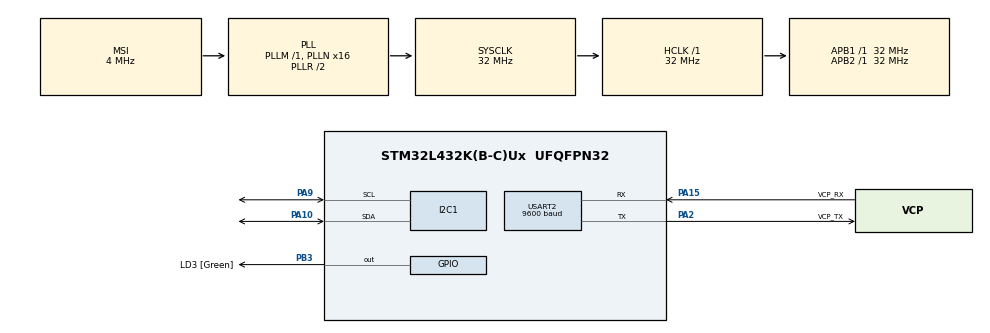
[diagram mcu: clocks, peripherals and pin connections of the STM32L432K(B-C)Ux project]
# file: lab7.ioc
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FREERTOS.BinarySemaphores01=myBinarySem01,Dynamic,NULL;myBinarySem02,Dynamic,NULL
FREERTOS.Queues01=RQ,4,uint8_t,0,Dynamic,NULL,NULL;SQ,4,uint8_t,0,Dynamic,NULL,NULL
FREERTOS.Tasks01=defaultTask,8,128,StartDefaultTask,Default,NULL,Dynamic,NULL,NULL;myTask04,8,128,StartTask04,Default,NULL,Dynamic,NULL,NULL
I2C1.Timing=0x00707CBB
Mcu.Family=STM32L4
Mcu.Name=STM32L432K(B-C)Ux
Mcu.Package=UFQFPN32
NVIC.PriorityGroup=NVIC_PRIORITYGROUP_4
NVIC.TIM1_UP_TIM16_IRQn=true\:15\:0\:false\:false\:true\:false\:false\:true\:true
NVIC.TimeBase=TIM1_UP_TIM16_IRQn
NVIC.TimeBaseIP=TIM1
NVIC.USART2_IRQn=true\:5\:0\:false\:false\:true\:true\:true\:true\:true
PA0.GPIO_Label=MCO [High speed clock in]
PA0.Mode=HSE-External-Clock-Source-for-LittleOrca
PA0.Signal=RCC_CK_IN
PA10.Mode=I2C
PA10.Signal=I2C1_SDA
PA13\ (JTMS-SWDIO).GPIO_Label=SWDIO
PA13\ (JTMS-SWDIO).Mode=Serial_Wire
PA13\ (JTMS-SWDIO).Signal=SYS_JTMS-SWDIO
PA14\ (JTCK-SWCLK).GPIO_Label=SWCLK
PA14\ (JTCK-SWCLK).Mode=Serial_Wire
PA14\ (JTCK-SWCLK).Signal=SYS_JTCK-SWCLK
PA15\ (JTDI).GPIO_Label=VCP_RX
PA15\ (JTDI).Mode=Asynchronous
PA15\ (JTDI).Signal=USART2_RX
PA2.GPIO_Label=VCP_TX
PA2.Mode=Asynchronous
PA2.Signal=USART2_TX
PA9.Mode=I2C
PA9.Signal=I2C1_SCL
PB3\ (JTDO-TRACESWO).GPIO_Label=LD3 [Green]
PB3\ (JTDO-TRACESWO).Signal=GPIO_Output
PC14-OSC32_IN\ (PC14).Mode=LSE-External-Oscillator
PC14-OSC32_IN\ (PC14).Signal=RCC_OSC32_IN
PC15-OSC32_OUT\ (PC15).Mode=LSE-External-Oscillator
PC15-OSC32_OUT\ (PC15).Signal=RCC_OSC32_OUT
ProjectManager.HeapSize=0x200
ProjectManager.StackSize=0x400
ProjectManager.TargetToolchain=MDK-ARM V5.32
RCC.AHBFreq_Value=32000000
RCC.APB1Freq_Value=32000000
RCC.APB1TimFreq_Value=32000000
RCC.APB2Freq_Value=32000000
RCC.APB2TimFreq_Value=32000000
RCC.CortexFreq_Value=32000000
RCC.HCLKFreq_Value=32000000
RCC.HSE_VALUE=8000000
RCC.HSI16_VALUE=16000000
RCC.HSI48_VALUE=48000000
RCC.HSI_VALUE=16000000
RCC.MSI_VALUE=4000000
RCC.PLLMUL=RCC_PLLMUL_4
RCC.PLLN=16
RCC.SYSCLKFreq_VALUE=32000000
RCC.SYSCLKSource=RCC_SYSCLKSOURCE_PLLCLK
RCC.VCOOutputFreq_Value=64000000
USART2.BaudRate=9600
USART2.VirtualMode-Asynchronous=VM_ASYNC
VP_FREERTOS_VS_CMSIS_V2.Mode=CMSIS_V2
VP_SYS_VS_tim1.Mode=TIM1
board=NUCLEO-L432KC

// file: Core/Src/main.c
/* USER CODE BEGIN Header */
/**
  ******************************************************************************
  * @file           : main.c
  * @brief          : Main program body
  ******************************************************************************
  * @attention
  *
  * Copyright (c) 2024 STMicroelectronics.
  * All rights reserved.
  *
  * This software is licensed under terms that can be found in the LICENSE file
  * in the root directory of this software component.
  * If no LICENSE file comes with this software, it is provided AS-IS.
  *
  ******************************************************************************
  */
/* USER CODE END Header */
#include "main.h"
#include "cmsis_os.h"

/* USER CODE BEGIN Includes */
#include "FreeRTOS.h"
#include "task.h"
#include "queue.h"
#include "semphr.h"
#include "stdio.h"
/* USER CODE END Includes */

I2C_HandleTypeDef hi2c1;

UART_HandleTypeDef huart2;

/* Definitions for defaultTask */
osThreadId_t defaultTaskHandle;
const osThreadAttr_t defaultTask_attributes = {
  .name = "defaultTask",
  .stack_size = 128 * 4,
  .priority = (osPriority_t) osPriorityLow,
};
/* Definitions for myTask04 */
osThreadId_t myTask04Handle;
const osThreadAttr_t myTask04_attributes = {
  .name = "myTask04",
  .stack_size = 128 * 4,
  .priority = (osPriority_t) osPriorityLow,
};
/* Definitions for RQ */
osMessageQueueId_t RQHandle;
const osMessageQueueAttr_t RQ_attributes = {
  .name = "RQ"
};
/* Definitions for SQ */
osMessageQueueId_t SQHandle;
const osMessageQueueAttr_t SQ_attributes = {
  .name = "SQ"
};
/* Definitions for myBinarySem01 */
osSemaphoreId_t myBinarySem01Handle;
const osSemaphoreAttr_t myBinarySem01_attributes = {
  .name = "myBinarySem01"
};
/* Definitions for myBinarySem02 */
osSemaphoreId_t myBinarySem02Handle;
const osSemaphoreAttr_t myBinarySem02_attributes = {
  .name = "myBinarySem02"
};
/* USER CODE BEGIN PV */
	char uartBuf [200] = {0};
		char uartBuf2 [200] = {0};

	uint8_t secbuffer[2], minbuffer[2], hourbuffer[2], alarmsecbuffer[2], alarmminbuffer[2], alarmhourbuffer[2], alarmdt[2], ctrl[2], status[2], tempMsb[2], tempLsb[2];
	uint8_t h1,h2,m1,m2,s1,s2;

/* USER CODE END PV */

void SystemClock_Config(void);
static void MX_GPIO_Init(void);
static void MX_USART2_UART_Init(void);
static void MX_I2C1_Init(void);
void StartDefaultTask(void *argument);
void StartTask04(void *argument);

int main(void)
{

  /* MCU Configuration--------------------------------------------------------*/

  /* Reset of all peripherals, Initializes the Flash interface and the Systick. */
  HAL_Init();

  /* Configure the system clock */
  SystemClock_Config();

  /* Initialize all configured peripherals */
  MX_GPIO_Init();
  MX_USART2_UART_Init();
  MX_I2C1_Init();
  /* USER CODE BEGIN 2 */
//	if (HAL_I2C_IsDeviceReady(&hi2c1, 0xD0, 10, HAL_MAX_DELAY) == HAL_OK)
//	{
//		for (int i = 1; i<=10;i++) // indicator of ready device
//		{
//			HAL_GPIO_TogglePin(GPIOB, GPIO_PIN_3);
//			HAL_Delay(250);
//		}
//	}

	tempMsb[0] = 0x11;
	tempLsb[0] = 0x12;
	ctrl[0] = 0x0E;
	ctrl[1] = 0x3C;
	// seconds
	HAL_I2C_Master_Transmit(&hi2c1, 0xD0, ctrl, 2, 10);

	secbuffer[0] = 0x00; //register address
	secbuffer[1] = 0x00; //data to put in register --> 00 sec
	HAL_I2C_Master_Transmit(&hi2c1, 0xD0, secbuffer, 2, 10);
	// minutes
	minbuffer[0] = 0x01; //register address
	minbuffer[1] = 0x46; //data to put in register --> 46 min
	HAL_I2C_Master_Transmit(&hi2c1, 0xD0, minbuffer, 2, 10);
	// hours
	hourbuffer[0] = 0x02; //register address
	hourbuffer[1] = 0x12; //data to put in register 00010010 --> 12 pm
	HAL_I2C_Master_Transmit(&hi2c1, 0xD0, hourbuffer, 2, 10);

  /* USER CODE END 2 */

  /* Init scheduler */
  osKernelInitialize();

  /* Create the semaphores(s) */
  /* creation of myBinarySem01 */
  myBinarySem01Handle = osSemaphoreNew(1, 1, &myBinarySem01_attributes);

  /* creation of myBinarySem02 */
  myBinarySem02Handle = osSemaphoreNew(1, 1, &myBinarySem02_attributes);

  /* Create the queue(s) */
  /* creation of RQ */
  RQHandle = osMessageQueueNew (4, sizeof(uint8_t), &RQ_attributes);

  /* creation of SQ */
  SQHandle = osMessageQueueNew (4, sizeof(uint8_t), &SQ_attributes);

  /* Create the thread(s) */
  /* creation of defaultTask */
  defaultTaskHandle = osThreadNew(StartDefaultTask, NULL, &defaultTask_attributes);

  /* creation of myTask04 */
  myTask04Handle = osThreadNew(StartTask04, NULL, &myTask04_attributes);

  /* Start scheduler */
  osKernelStart();
  /* We should never get here as control is now taken by the scheduler */
  /* Infinite loop */
  /* USER CODE BEGIN WHILE */
	 //check that device is ready to operate

  while (1)
  {
    /* USER CODE END WHILE */

  }
}

void SystemClock_Config(void)
{
  RCC_OscInitTypeDef RCC_OscInitStruct = {0};
  RCC_ClkInitTypeDef RCC_ClkInitStruct = {0};

  /** Configure the main internal regulator output voltage
  */
  if (HAL_PWREx_ControlVoltageScaling(PWR_REGULATOR_VOLTAGE_SCALE1) != HAL_OK)
  {
    Error_Handler();
  }

  /** Configure LSE Drive Capability
  */
  HAL_PWR_EnableBkUpAccess();
  __HAL_RCC_LSEDRIVE_CONFIG(RCC_LSEDRIVE_LOW);

  /** Initializes the RCC Oscillators according to the specified parameters
  * in the RCC_OscInitTypeDef structure.
  */
  RCC_OscInitStruct.OscillatorType = RCC_OSCILLATORTYPE_LSE|RCC_OSCILLATORTYPE_MSI;
  RCC_OscInitStruct.LSEState = RCC_LSE_ON;
  RCC_OscInitStruct.MSIState = RCC_MSI_ON;
  RCC_OscInitStruct.MSICalibrationValue = 0;
  RCC_OscInitStruct.MSIClockRange = RCC_MSIRANGE_6;
  RCC_OscInitStruct.PLL.PLLState = RCC_PLL_ON;
  RCC_OscInitStruct.PLL.PLLSource = RCC_PLLSOURCE_MSI;
  RCC_OscInitStruct.PLL.PLLM = 1;
  RCC_OscInitStruct.PLL.PLLN = 16;
  RCC_OscInitStruct.PLL.PLLP = RCC_PLLP_DIV7;
  RCC_OscInitStruct.PLL.PLLQ = RCC_PLLQ_DIV2;
  RCC_OscInitStruct.PLL.PLLR = RCC_PLLR_DIV2;
  if (HAL_RCC_OscConfig(&RCC_OscInitStruct) != HAL_OK)
  {
    Error_Handler();
  }

  /** Initializes the CPU, AHB and APB buses clocks
  */
  RCC_ClkInitStruct.ClockType = RCC_CLOCKTYPE_HCLK|RCC_CLOCKTYPE_SYSCLK
                              |RCC_CLOCKTYPE_PCLK1|RCC_CLOCKTYPE_PCLK2;
  RCC_ClkInitStruct.SYSCLKSource = RCC_SYSCLKSOURCE_PLLCLK;
  RCC_ClkInitStruct.AHBCLKDivider = RCC_SYSCLK_DIV1;
  RCC_ClkInitStruct.APB1CLKDivider = RCC_HCLK_DIV1;
  RCC_ClkInitStruct.APB2CLKDivider = RCC_HCLK_DIV1;

  if (HAL_RCC_ClockConfig(&RCC_ClkInitStruct, FLASH_LATENCY_1) != HAL_OK)
  {
    Error_Handler();
  }

  /** Enable MSI Auto calibration
  */
  HAL_RCCEx_EnableMSIPLLMode();
}

static void MX_I2C1_Init(void)
{

  hi2c1.Instance = I2C1;
  hi2c1.Init.Timing = 0x00707CBB;
  hi2c1.Init.OwnAddress1 = 0;
  hi2c1.Init.AddressingMode = I2C_ADDRESSINGMODE_7BIT;
  hi2c1.Init.DualAddressMode = I2C_DUALADDRESS_DISABLE;
  hi2c1.Init.OwnAddress2 = 0;
  hi2c1.Init.OwnAddress2Masks = I2C_OA2_NOMASK;
  hi2c1.Init.GeneralCallMode = I2C_GENERALCALL_DISABLE;
  hi2c1.Init.NoStretchMode = I2C_NOSTRETCH_DISABLE;
  if (HAL_I2C_Init(&hi2c1) != HAL_OK)
  {
    Error_Handler();
  }

  /** Configure Analogue filter
  */
  if (HAL_I2CEx_ConfigAnalogFilter(&hi2c1, I2C_ANALOGFILTER_ENABLE) != HAL_OK)
  {
    Error_Handler();
  }

  /** Configure Digital filter
  */
  if (HAL_I2CEx_ConfigDigitalFilter(&hi2c1, 0) != HAL_OK)
  {
    Error_Handler();
  }

}

static void MX_USART2_UART_Init(void)
{

  huart2.Instance = USART2;
  huart2.Init.BaudRate = 9600;
  huart2.Init.WordLength = UART_WORDLENGTH_8B;
  huart2.Init.StopBits = UART_STOPBITS_1;
  huart2.Init.Parity = UART_PARITY_NONE;
  huart2.Init.Mode = UART_MODE_TX_RX;
  huart2.Init.HwFlowCtl = UART_HWCONTROL_NONE;
  huart2.Init.OverSampling = UART_OVERSAMPLING_16;
  huart2.Init.OneBitSampling = UART_ONE_BIT_SAMPLE_DISABLE;
  huart2.AdvancedInit.AdvFeatureInit = UART_ADVFEATURE_NO_INIT;
  if (HAL_UART_Init(&huart2) != HAL_OK)
  {
    Error_Handler();
  }

}

static void MX_GPIO_Init(void)
{
  GPIO_InitTypeDef GPIO_InitStruct = {0};

  /* GPIO Ports Clock Enable */
  __HAL_RCC_GPIOC_CLK_ENABLE();
  __HAL_RCC_GPIOA_CLK_ENABLE();
  __HAL_RCC_GPIOB_CLK_ENABLE();

  /*Configure GPIO pin Output Level */
  HAL_GPIO_WritePin(LD3_GPIO_Port, LD3_Pin, GPIO_PIN_RESET);

  /*Configure GPIO pin : LD3_Pin */
  GPIO_InitStruct.Pin = LD3_Pin;
  GPIO_InitStruct.Mode = GPIO_MODE_OUTPUT_PP;
  GPIO_InitStruct.Pull = GPIO_NOPULL;
  GPIO_InitStruct.Speed = GPIO_SPEED_FREQ_LOW;
  HAL_GPIO_Init(LD3_GPIO_Port, &GPIO_InitStruct);

}

/* USER CODE BEGIN 4 */
uint8_t num1, itemTaken, op, num2, res;
uint8_t r;

/* USER CODE END 4 */

void StartDefaultTask(void *argument)
{
  /* USER CODE BEGIN 5 */

  /* Infinite loop */
  for(;;)
  {
		if(xSemaphoreTake(myBinarySem01Handle, 9999999)){

		//send seconds register address 00h to read from
		HAL_I2C_Master_Transmit(&hi2c1, 0xD0, secbuffer, 1, 10);
		//read data of register 00h to secbuffer[1]
		HAL_I2C_Master_Receive(&hi2c1, 0xD1, secbuffer+1, 1, 10);
		//prepare UART output
		s1 = secbuffer[1] >> 4;
		s2 = secbuffer[1] & 0x0F;
		HAL_I2C_Master_Transmit(&hi2c1, 0xD0, minbuffer, 1, 10);
		HAL_I2C_Master_Receive(&hi2c1, 0xD1, minbuffer+1, 1, 10);
		m1 = minbuffer[1] >> 4;
		m2 = minbuffer[1] & 0x0F;
		HAL_I2C_Master_Transmit(&hi2c1, 0xD0, hourbuffer, 1, 10);
		HAL_I2C_Master_Receive(&hi2c1, 0xD1, hourbuffer+1, 1, 10);

		xSemaphoreGive(myBinarySem01Handle);
		}
		if(xSemaphoreTake(myBinarySem02Handle, 9999999)){
		h1 = (hourbuffer[1] >> 4) & 1;
		h2 = hourbuffer[1] & 0x0F;
	  sprintf(uartBuf, "%d%d:%d%d:%d%d ",h1,h2,m1,m2,s1,s2);
		HAL_UART_Transmit(&huart2, (uint8_t *)uartBuf, sizeof(uartBuf), 10);
		xSemaphoreGive(myBinarySem02Handle);
		HAL_Delay(1000);

		}
		osDelay(1);

	}

  /* USER CODE END 5 */
}

void StartTask04(void *argument)
{
  /* USER CODE BEGIN StartTask04 */
  /* Infinite loop */
  for(;;)
  {
		if(xSemaphoreTake(myBinarySem01Handle, 9999999)){
		HAL_I2C_Master_Transmit(&hi2c1, 0xD0, tempMsb, 1, 10);
		HAL_I2C_Master_Receive(&hi2c1, 0xD1, tempMsb+1, 1, 10);

		HAL_I2C_Master_Transmit(&hi2c1, 0xD0, tempLsb, 1, 10);
		HAL_I2C_Master_Receive(&hi2c1, 0xD1, tempLsb+1, 1, 10);
		xSemaphoreGive(myBinarySem01Handle);
		}
		if(xSemaphoreTake(myBinarySem02Handle, 9999999)){
		int tempFrac = ((tempLsb[1] >> 6)/4.0) * 100;

		sprintf(uartBuf2, "%d.%dC \r\n", tempMsb[1], tempFrac);
		HAL_UART_Transmit(&huart2, (uint8_t *)uartBuf2, sizeof(uartBuf), 10);
		xSemaphoreGive(myBinarySem02Handle);
		HAL_Delay(1000);

		}
		osDelay(1);
  }

  /* USER CODE END StartTask04 */
}

void HAL_TIM_PeriodElapsedCallback(TIM_HandleTypeDef *htim)
{
  if (htim->Instance == TIM1) {
    HAL_IncTick();
  }
}

void Error_Handler(void)
{
  __disable_irq();
  while (1)
  {
  }
}
